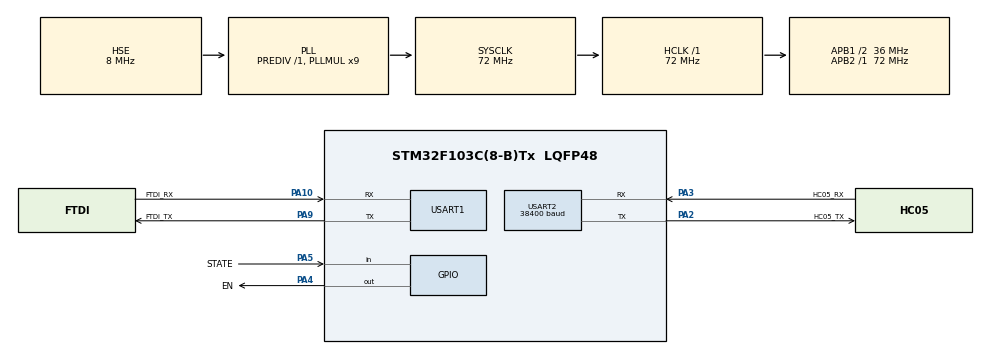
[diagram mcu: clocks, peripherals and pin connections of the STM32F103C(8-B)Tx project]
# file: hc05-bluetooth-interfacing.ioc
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Dma.Request0=USART2_RX
Dma.USART2_RX.0.Direction=DMA_PERIPH_TO_MEMORY
Dma.USART2_RX.0.Instance=DMA1_Channel6
Dma.USART2_RX.0.MemDataAlignment=DMA_MDATAALIGN_BYTE
Dma.USART2_RX.0.MemInc=DMA_MINC_ENABLE
Dma.USART2_RX.0.Mode=DMA_NORMAL
Dma.USART2_RX.0.PeriphDataAlignment=DMA_PDATAALIGN_BYTE
Dma.USART2_RX.0.PeriphInc=DMA_PINC_DISABLE
Dma.USART2_RX.0.Priority=DMA_PRIORITY_LOW
Mcu.Family=STM32F1
Mcu.Name=STM32F103C(8-B)Tx
Mcu.Package=LQFP48
NVIC.DMA1_Channel6_IRQn=true\:0\:0\:false\:false\:true\:false\:true\:true
NVIC.PriorityGroup=NVIC_PRIORITYGROUP_4
NVIC.USART2_IRQn=true\:0\:0\:false\:false\:true\:true\:true\:true
PA10.GPIO_Label=FTDI_RX
PA10.Mode=Asynchronous
PA10.Signal=USART1_RX
PA13.Mode=Serial_Wire
PA13.Signal=SYS_JTMS-SWDIO
PA14.Mode=Serial_Wire
PA14.Signal=SYS_JTCK-SWCLK
PA2.GPIO_Label=HC05_TX
PA2.Mode=Asynchronous
PA2.Signal=USART2_TX
PA3.GPIO_Label=HC05_RX
PA3.Mode=Asynchronous
PA3.Signal=USART2_RX
PA4.GPIO_Label=EN
PA4.PinState=GPIO_PIN_RESET
PA4.Signal=GPIO_Output
PA5.GPIO_Label=STATE
PA5.Signal=GPIO_Input
PA9.GPIO_Label=FTDI_TX
PA9.Mode=Asynchronous
PA9.Signal=USART1_TX
PD0-OSC_IN.Mode=HSE-External-Oscillator
PD0-OSC_IN.Signal=RCC_OSC_IN
PD1-OSC_OUT.Mode=HSE-External-Oscillator
PD1-OSC_OUT.Signal=RCC_OSC_OUT
ProjectManager.HeapSize=0x200
ProjectManager.StackSize=0x400
ProjectManager.TargetToolchain=STM32CubeIDE
RCC.AHBFreq_Value=72000000
RCC.APB1CLKDivider=RCC_HCLK_DIV2
RCC.APB1Freq_Value=36000000
RCC.APB1TimFreq_Value=72000000
RCC.APB2Freq_Value=72000000
RCC.APB2TimFreq_Value=72000000
RCC.HCLKFreq_Value=72000000
RCC.PLLMUL=RCC_PLL_MUL9
RCC.PLLSourceVirtual=RCC_PLLSOURCE_HSE
RCC.SYSCLKFreq_VALUE=72000000
RCC.SYSCLKSource=RCC_SYSCLKSOURCE_PLLCLK
RCC.USBFreq_Value=72000000
USART1.StopBits=STOPBITS_2
USART1.VirtualMode=VM_ASYNC
USART2.BaudRate=38400
USART2.StopBits=STOPBITS_1
USART2.VirtualMode=VM_ASYNC
board=custom

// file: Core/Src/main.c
/* USER CODE BEGIN Header */
/**
 ******************************************************************************
 * @file           : main.c
 * @brief          : Main program body
 ******************************************************************************
 * @attention
 *
 * Copyright (c) 2022 STMicroelectronics.
 * All rights reserved.
 *
 * This software is licensed under terms that can be found in the LICENSE file
 * in the root directory of this software component.
 * If no LICENSE file comes with this software, it is provided AS-IS.
 *
 ******************************************************************************
 */
/* USER CODE END Header */
#include "main.h"

/* USER CODE BEGIN Includes */
#include <string.h>
#include <stdio.h>
/* USER CODE END Includes */

/* USER CODE BEGIN PD */
#define MAX_LENGTH 30
#define RxBuf_SIZE 10
#define MainBuf_SIZE 20

/* USER CODE END PD */

UART_HandleTypeDef huart1;
UART_HandleTypeDef huart2;
DMA_HandleTypeDef hdma_usart2_rx;

/* USER CODE BEGIN PV */
uint8_t RxBuf[RxBuf_SIZE];
uint8_t MainBuf[MainBuf_SIZE];

/* USER CODE END PV */

void SystemClock_Config(void);
static void MX_GPIO_Init(void);
static void MX_DMA_Init(void);
static void MX_USART1_UART_Init(void);
static void MX_USART2_UART_Init(void);
/* USER CODE BEGIN PFP */
void HAL_UARTEx_RxEventCallback(UART_HandleTypeDef *huart, uint16_t Size);
void println(char *s);
void print(char *s);
/* USER CODE END PFP */

int main(void) {

	/* MCU Configuration--------------------------------------------------------*/

	/* Reset of all peripherals, Initializes the Flash interface and the Systick. */
	HAL_Init();

	/* Configure the system clock */
	SystemClock_Config();

	/* Initialize all configured peripherals */
	MX_GPIO_Init();
	MX_DMA_Init();
	MX_USART1_UART_Init();
	MX_USART2_UART_Init();
	/* USER CODE BEGIN 2 */

	HAL_UARTEx_ReceiveToIdle_DMA(&huart2, RxBuf, RxBuf_SIZE);
	__HAL_DMA_DISABLE_IT(&hdma_usart2_rx, DMA_IT_HT);
	/* USER CODE END 2 */

	/* Infinite loop */
	/* USER CODE BEGIN WHILE */
	while (1) {
		print((char *)MainBuf);
		sprintf((char *)MainBuf, "");
		HAL_Delay(1000);
		/* USER CODE END WHILE */

	}
}

void SystemClock_Config(void) {
	RCC_OscInitTypeDef RCC_OscInitStruct = { 0 };
	RCC_ClkInitTypeDef RCC_ClkInitStruct = { 0 };

	/** Initializes the RCC Oscillators according to the specified parameters
	 * in the RCC_OscInitTypeDef structure.
	 */
	RCC_OscInitStruct.OscillatorType = RCC_OSCILLATORTYPE_HSE;
	RCC_OscInitStruct.HSEState = RCC_HSE_ON;
	RCC_OscInitStruct.HSEPredivValue = RCC_HSE_PREDIV_DIV1;
	RCC_OscInitStruct.HSIState = RCC_HSI_ON;
	RCC_OscInitStruct.PLL.PLLState = RCC_PLL_ON;
	RCC_OscInitStruct.PLL.PLLSource = RCC_PLLSOURCE_HSE;
	RCC_OscInitStruct.PLL.PLLMUL = RCC_PLL_MUL9;
	if (HAL_RCC_OscConfig(&RCC_OscInitStruct) != HAL_OK) {
		Error_Handler();
	}

	/** Initializes the CPU, AHB and APB buses clocks
	 */
	RCC_ClkInitStruct.ClockType = RCC_CLOCKTYPE_HCLK | RCC_CLOCKTYPE_SYSCLK
			| RCC_CLOCKTYPE_PCLK1 | RCC_CLOCKTYPE_PCLK2;
	RCC_ClkInitStruct.SYSCLKSource = RCC_SYSCLKSOURCE_PLLCLK;
	RCC_ClkInitStruct.AHBCLKDivider = RCC_SYSCLK_DIV1;
	RCC_ClkInitStruct.APB1CLKDivider = RCC_HCLK_DIV2;
	RCC_ClkInitStruct.APB2CLKDivider = RCC_HCLK_DIV1;

	if (HAL_RCC_ClockConfig(&RCC_ClkInitStruct, FLASH_LATENCY_2) != HAL_OK) {
		Error_Handler();
	}
}

static void MX_USART1_UART_Init(void) {

	huart1.Instance = USART1;
	huart1.Init.BaudRate = 115200;
	huart1.Init.WordLength = UART_WORDLENGTH_8B;
	huart1.Init.StopBits = UART_STOPBITS_2;
	huart1.Init.Parity = UART_PARITY_NONE;
	huart1.Init.Mode = UART_MODE_TX_RX;
	huart1.Init.HwFlowCtl = UART_HWCONTROL_NONE;
	huart1.Init.OverSampling = UART_OVERSAMPLING_16;
	if (HAL_UART_Init(&huart1) != HAL_OK) {
		Error_Handler();
	}

}

static void MX_USART2_UART_Init(void) {

	huart2.Instance = USART2;
	huart2.Init.BaudRate = 38400;
	huart2.Init.WordLength = UART_WORDLENGTH_8B;
	huart2.Init.StopBits = UART_STOPBITS_1;
	huart2.Init.Parity = UART_PARITY_NONE;
	huart2.Init.Mode = UART_MODE_TX_RX;
	huart2.Init.HwFlowCtl = UART_HWCONTROL_NONE;
	huart2.Init.OverSampling = UART_OVERSAMPLING_16;
	if (HAL_UART_Init(&huart2) != HAL_OK) {
		Error_Handler();
	}

}

static void MX_DMA_Init(void) {

	/* DMA controller clock enable */
	__HAL_RCC_DMA1_CLK_ENABLE();

	/* DMA interrupt init */
	/* DMA1_Channel6_IRQn interrupt configuration */
	HAL_NVIC_SetPriority(DMA1_Channel6_IRQn, 0, 0);
	HAL_NVIC_EnableIRQ(DMA1_Channel6_IRQn);

}

static void MX_GPIO_Init(void) {
	GPIO_InitTypeDef GPIO_InitStruct = { 0 };

	/* GPIO Ports Clock Enable */
	__HAL_RCC_GPIOD_CLK_ENABLE();
	__HAL_RCC_GPIOA_CLK_ENABLE();

	/*Configure GPIO pin Output Level */
	HAL_GPIO_WritePin(EN_GPIO_Port, EN_Pin, GPIO_PIN_RESET);

	/*Configure GPIO pin : EN_Pin */
	GPIO_InitStruct.Pin = EN_Pin;
	GPIO_InitStruct.Mode = GPIO_MODE_OUTPUT_PP;
	GPIO_InitStruct.Pull = GPIO_NOPULL;
	GPIO_InitStruct.Speed = GPIO_SPEED_FREQ_LOW;
	HAL_GPIO_Init(EN_GPIO_Port, &GPIO_InitStruct);

	/*Configure GPIO pin : STATE_Pin */
	GPIO_InitStruct.Pin = STATE_Pin;
	GPIO_InitStruct.Mode = GPIO_MODE_INPUT;
	GPIO_InitStruct.Pull = GPIO_NOPULL;
	HAL_GPIO_Init(STATE_GPIO_Port, &GPIO_InitStruct);

}

/* USER CODE BEGIN 4 */
void HAL_UARTEx_RxEventCallback(UART_HandleTypeDef *huart, uint16_t Size) {
	if (huart->Instance == USART2) {
		memcpy(MainBuf, RxBuf, Size);
		HAL_UARTEx_ReceiveToIdle_DMA(&huart2, RxBuf, RxBuf_SIZE);
	}
}

void println(char *s) {
	char buffer[MAX_LENGTH];
	short buf_len = sprintf(buffer, "%s\r\n", s);
	HAL_UART_Transmit(&huart1, (uint8_t*) buffer, buf_len, 200);
}

void print(char *s) {
	char buffer[MAX_LENGTH];
	short buf_len = sprintf(buffer, "%s", s);
	HAL_UART_Transmit(&huart1, (uint8_t*) buffer, buf_len, 200);
}
/* USER CODE END 4 */

void Error_Handler(void) {
	__disable_irq();
	while (1) {
	}
}
